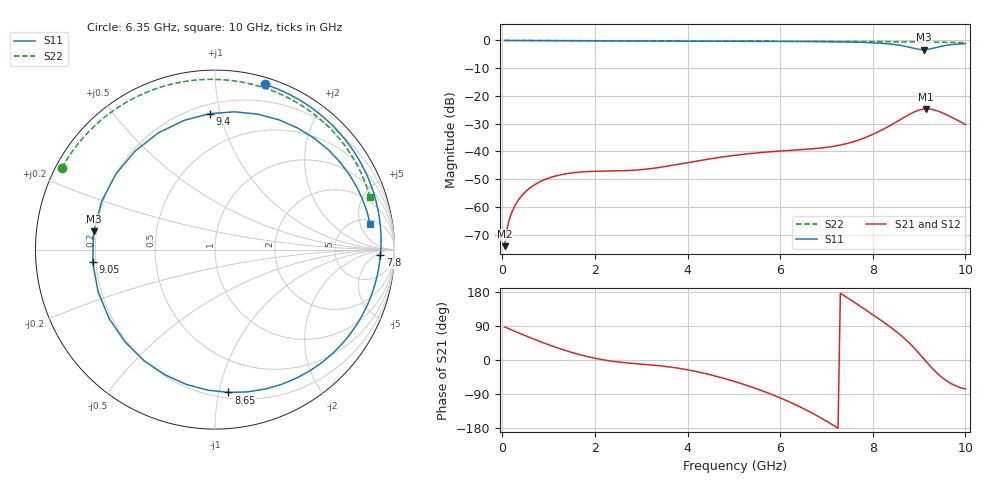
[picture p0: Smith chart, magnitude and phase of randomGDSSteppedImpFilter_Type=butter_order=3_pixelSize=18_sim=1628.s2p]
! freq	dB(S11)	phase(S11)	dB(S12)	phase(S12)
!  dB(S21)	phase(S21)	dB(S22)	phase(S22)
!S-par simulation data
#  GHz  S  DB  R 50
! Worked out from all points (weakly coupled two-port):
!   200 points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, 50 MHz to 10 GHz, reference 50 ohm
!   highest |S21| = -24.66 dB at 9.15 GHz (marker M1); lowest = -74.1 dB at 50 MHz (marker M2)
!   lowest |S11| = -3.3 dB at 9.1 GHz (marker M3), VSWR 5.31, Z = 9.47 + j3.64 ohm
!   |S11| at or under -10 dB: nowhere
!   |S22| runs from -0.8 to 0.0 dB; largest |S21 - S12| = 0
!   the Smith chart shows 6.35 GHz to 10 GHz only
!   S11 on the Smith chart (normalised r, x): 6.35 GHz: 0.06, +1.34; 7.8 GHz: 21, -9; 8.65 GHz: 0.24, -1.07; 9.05 GHz: 0.19, -0.05; 9.4 GHz: 0.26, +0.93; 10 GHz: 5.96, +7.36
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0.05  -0.00 -3.2  -74.11 87.3  -74.11 87.3  -0.00 -2.1
0.1  -0.01 -6.4  -68.11 84.7  -68.11 84.7  -0.00 -4.2
0.2  -0.02 -12.6  -62.15 79.4  -62.15 79.4  -0.01 -8.4
0.5  -0.04 -31.2  -54.52 64.1  -54.52 64.1  -0.03 -20.9
1.1  -0.08 -66.5  -49.07 35.9  -49.07 35.9  -0.06 -45.3
1.75  -0.11 -100.6  -47.32 11.6  -47.32 11.6  -0.08 -70.2
2.6  -0.14 -139.3  -46.94 -6.5  -46.94 -6.5  -0.12 -99.9
3.4  -0.16 -171.4  -45.72 -15.2  -45.72 -15.2  -0.14 -125.2
4.2  -0.19 158.4  -43.45 -30.7  -43.45 -30.7  -0.17 -148.6
5.05  -0.24 126.3  -41.32 -58.0  -41.32 -58.0  -0.22 -172.2
6.35  -0.34 73.2  -39.46 -119.1  -39.46 -119.1  -0.29 151.9
6.7  -0.39 57.4  -39.04 -140.6  -39.04 -140.6  -0.32 141.9
7.8  -0.70 -1.9  -35.24 136.1  -35.24 136.1  -0.41 108.3
8.35  -1.24 -46.3  -30.87 89.6  -30.87 89.6  -0.46 89.7
8.65  -1.95 -84.7  -27.96 60.6  -27.96 60.6  -0.50 78.9
8.85  -2.68 -122.6  -26.11 37.4  -26.11 37.4  -0.53 71.3
9.05  -3.28 -174.2  -24.88 10.4  -24.88 10.4  -0.55 63.4
9.1  -3.31 171.4  -24.73 3.4  -24.73 3.4  -0.56 61.4
9.15  -3.27 156.8  -24.66 -3.7  -24.66 -3.7  -0.57 59.3
9.4  -2.41 92.3  -25.41 -36.0  -25.41 -36.0  -0.61 48.5
9.7  -1.50 41.5  -27.65 -62.7  -27.65 -62.7  -0.69 34.5
10  -1.15 9.4  -30.25 -76.3  -30.25 -76.3  -0.80 18.7
